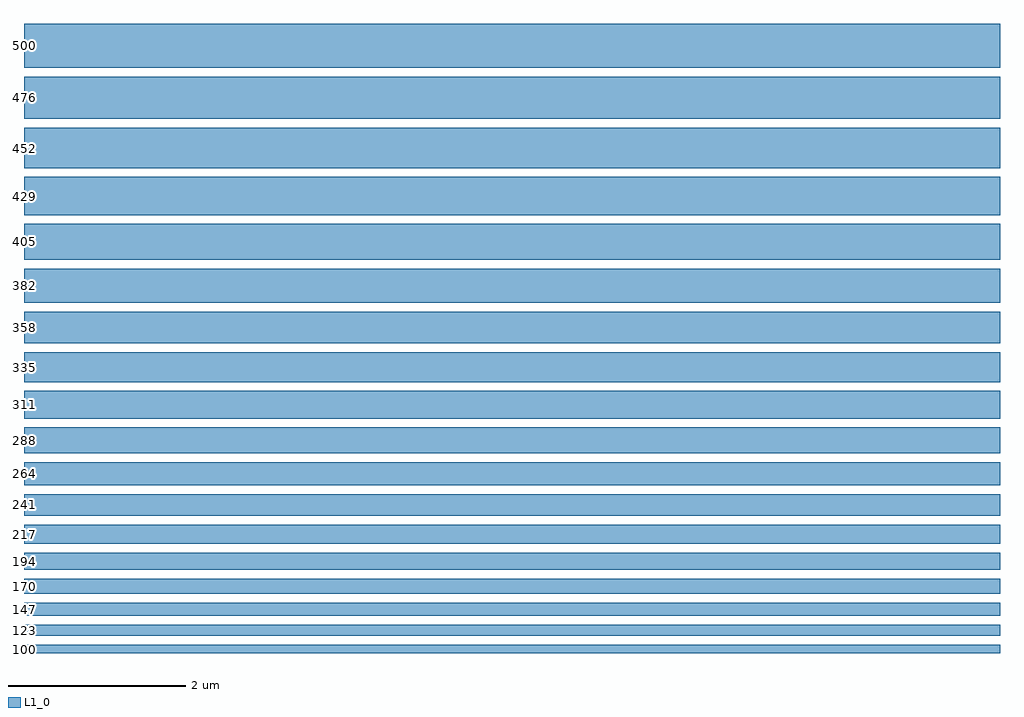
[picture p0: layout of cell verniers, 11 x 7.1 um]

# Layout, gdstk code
import gdstk
lib = gdstk.Library(unit=1e-6, precision=1e-09)
def R(c, l, rs):  # rectangles x0, y0, x1, y1
    for r in rs: c.add(gdstk.rectangle(r[:2], r[2:], *l))
L1_0 = (1, 0)

straight_length11_width1 = lib.new_cell('straight_length11_width100n')
R(straight_length11_width1, L1_0, [(0,-0.05,11,0.05)])

c_straight_length11_width1 = lib.new_cell('straight_length11_width123n')
R(c_straight_length11_width1, L1_0, [(0,-0.062,11,0.062)])

c_straight_length11_width1_ = lib.new_cell('straight_length11_width147n')
R(c_straight_length11_width1_, L1_0, [(0,-0.074,11,0.074)])

c_straight_length11_width1__ = lib.new_cell('straight_length11_width170n')
R(c_straight_length11_width1__, L1_0, [(0,-0.085,11,0.085)])

c_straight_length11_width1___ = lib.new_cell('straight_length11_width194n')
R(c_straight_length11_width1___, L1_0, [(0,-0.097,11,0.097)])

straight_length11_width2 = lib.new_cell('straight_length11_width217n')
R(straight_length11_width2, L1_0, [(0,-0.109,11,0.109)])

c_straight_length11_width2 = lib.new_cell('straight_length11_width241n')
R(c_straight_length11_width2, L1_0, [(0,-0.121,11,0.121)])

c_straight_length11_width2_ = lib.new_cell('straight_length11_width264n')
R(c_straight_length11_width2_, L1_0, [(0,-0.132,11,0.132)])

c_straight_length11_width2__ = lib.new_cell('straight_length11_width288n')
R(c_straight_length11_width2__, L1_0, [(0,-0.144,11,0.144)])

straight_length11_width3 = lib.new_cell('straight_length11_width311n')
R(straight_length11_width3, L1_0, [(0,-0.156,11,0.156)])

c_straight_length11_width3 = lib.new_cell('straight_length11_width335n')
R(c_straight_length11_width3, L1_0, [(0,-0.168,11,0.168)])

c_straight_length11_width3_ = lib.new_cell('straight_length11_width358n')
R(c_straight_length11_width3_, L1_0, [(0,-0.179,11,0.179)])

c_straight_length11_width3__ = lib.new_cell('straight_length11_width382n')
R(c_straight_length11_width3__, L1_0, [(0,-0.191,11,0.191)])

straight_length11_width4 = lib.new_cell('straight_length11_width405n')
R(straight_length11_width4, L1_0, [(0,-0.203,11,0.203)])

c_straight_length11_width4 = lib.new_cell('straight_length11_width429n')
R(c_straight_length11_width4, L1_0, [(0,-0.215,11,0.215)])

c_straight_length11_width4_ = lib.new_cell('straight_length11_width452n')
R(c_straight_length11_width4_, L1_0, [(0,-0.226,11,0.226)])

c_straight_length11_width4__ = lib.new_cell('straight_length11_width476n')
R(c_straight_length11_width4__, L1_0, [(0,-0.238,11,0.238)])

straight_length11_width5 = lib.new_cell('straight_length11_width500n')
R(straight_length11_width5, L1_0, [(0,-0.25,11,0.25)])

verniers = lib.new_cell('verniers')
verniers.add(gdstk.Reference(straight_length11_width1, (0,0.05)))
verniers.add(gdstk.Reference(c_straight_length11_width1, (0,0.262)))
verniers.add(gdstk.Reference(c_straight_length11_width1_, (0,0.497)))
verniers.add(gdstk.Reference(c_straight_length11_width1__, (0,0.756)))
verniers.add(gdstk.Reference(c_straight_length11_width1___, (0,1.038)))
verniers.add(gdstk.Reference(straight_length11_width2, (0,1.344)))
verniers.add(gdstk.Reference(c_straight_length11_width2, (0,1.674)))
verniers.add(gdstk.Reference(c_straight_length11_width2_, (0,2.026)))
verniers.add(gdstk.Reference(c_straight_length11_width2__, (0,2.403)))
verniers.add(gdstk.Reference(straight_length11_width3, (0,2.803)))
verniers.add(gdstk.Reference(c_straight_length11_width3, (0,3.226)))
verniers.add(gdstk.Reference(c_straight_length11_width3_, (0,3.674)))
verniers.add(gdstk.Reference(c_straight_length11_width3__, (0,4.144)))
verniers.add(gdstk.Reference(straight_length11_width4, (0,4.638)))
verniers.add(gdstk.Reference(c_straight_length11_width4, (0,5.156)))
verniers.add(gdstk.Reference(c_straight_length11_width4_, (0,5.697)))
verniers.add(gdstk.Reference(c_straight_length11_width4__, (0,6.262)))
verniers.add(gdstk.Reference(straight_length11_width5, (0,6.85)))
verniers.add(gdstk.Label('100', (0,0.05), layer=201, texttype=0))
verniers.add(gdstk.Label('123', (0,0.262), layer=201, texttype=0))
verniers.add(gdstk.Label('147', (0,0.497), layer=201, texttype=0))
verniers.add(gdstk.Label('170', (0,0.756), layer=201, texttype=0))
verniers.add(gdstk.Label('194', (0,1.038), layer=201, texttype=0))
verniers.add(gdstk.Label('217', (0,1.344), layer=201, texttype=0))
verniers.add(gdstk.Label('241', (0,1.674), layer=201, texttype=0))
verniers.add(gdstk.Label('264', (0,2.026), layer=201, texttype=0))
verniers.add(gdstk.Label('288', (0,2.403), layer=201, texttype=0))
verniers.add(gdstk.Label('311', (0,2.803), layer=201, texttype=0))
verniers.add(gdstk.Label('335', (0,3.226), layer=201, texttype=0))
verniers.add(gdstk.Label('358', (0,3.674), layer=201, texttype=0))
verniers.add(gdstk.Label('382', (0,4.144), layer=201, texttype=0))
verniers.add(gdstk.Label('405', (0,4.638), layer=201, texttype=0))
verniers.add(gdstk.Label('429', (0,5.156), layer=201, texttype=0))
verniers.add(gdstk.Label('452', (0,5.697), layer=201, texttype=0))
verniers.add(gdstk.Label('476', (0,6.262), layer=201, texttype=0))
verniers.add(gdstk.Label('500', (0,6.85), layer=201, texttype=0))

lib.write_gds('verniers.gds')
